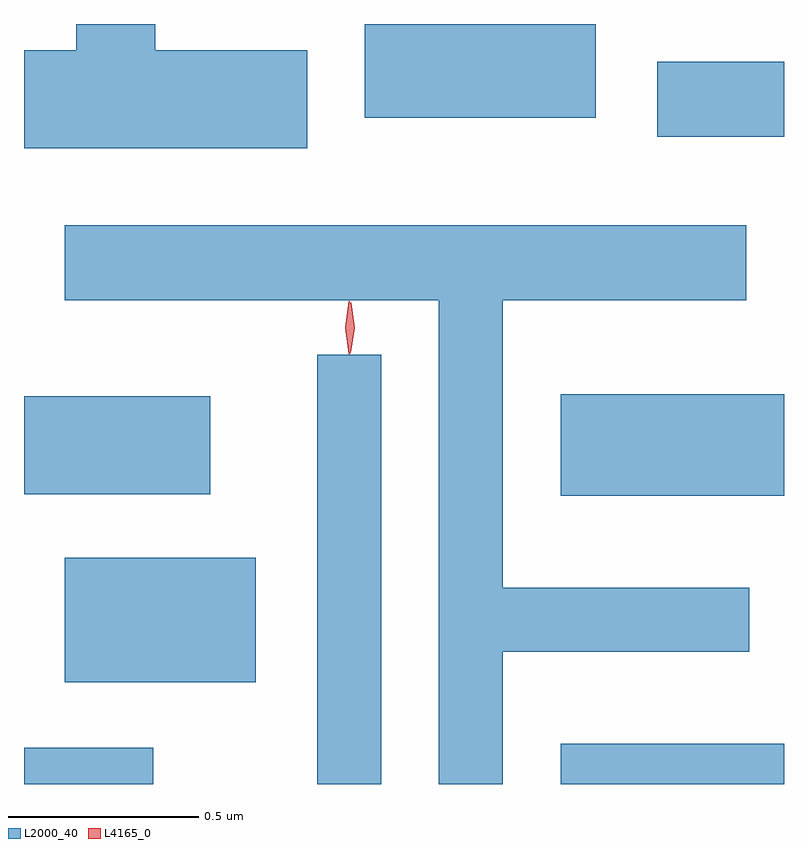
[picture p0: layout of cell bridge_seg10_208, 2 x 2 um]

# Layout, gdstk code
import gdstk
lib = gdstk.Library(unit=1e-6, precision=1e-09)
def R(c, l, rs):  # rectangles x0, y0, x1, y1
    for r in rs: c.add(gdstk.rectangle(r[:2], r[2:], *l))
def P(c, l, *ps):  # polygons
    for p in ps: c.add(gdstk.Polygon(p, *l))
L2000_40 = (2000, 40)
L4165_0 = (4165, 0)

bridge_seg10_208 = lib.new_cell('bridge_seg10_208')
R(bridge_seg10_208, L2000_40, [(1871.219,2141.043,1871.559,2141.139), (1871.991,2141.043,1872.159,2142.173), (1872.631,2141.043,1873.219,2141.149), (1871.326,2141.311,1871.829,2141.639), (1872.631,2141.801,1873.219,2142.069), (1871.219,2141.806,1871.709,2142.064), (1872.886,2142.746,1873.219,2142.944), (1872.116,2142.796,1872.724,2143.043)])
P(bridge_seg10_208, L2000_40, [(1871.964,2142.974),(1871.564,2142.974),(1871.564,2143.043),(1871.356,2143.043),(1871.356,2142.974),(1871.219,2142.974),(1871.219,2142.716),(1871.964,2142.716)],
  [(1872.479,2141.391),(1873.128,2141.391),(1873.128,2141.559),(1872.479,2141.559),(1872.479,2142.316),(1873.119,2142.316),(1873.119,2142.514),(1871.326,2142.514),(1871.326,2142.316),(1872.311,2142.316),(1872.311,2141.043),(1872.479,2141.043)])
P(bridge_seg10_208, L4165_0, [(1872.075,2142.174),(1872.074,2142.175),(1872.065,2142.244),(1872.074,2142.313),(1872.075,2142.314),(1872.076,2142.313),(1872.085,2142.244),(1872.076,2142.175)],
  [(1872.078,2142.178),(1872.069,2142.244),(1872.079,2142.31),(1872.079,2142.311),(1872.08,2142.31),(1872.089,2142.244),(1872.079,2142.178),(1872.079,2142.178)])

lib.write_gds('bridge_seg10_208.gds')
